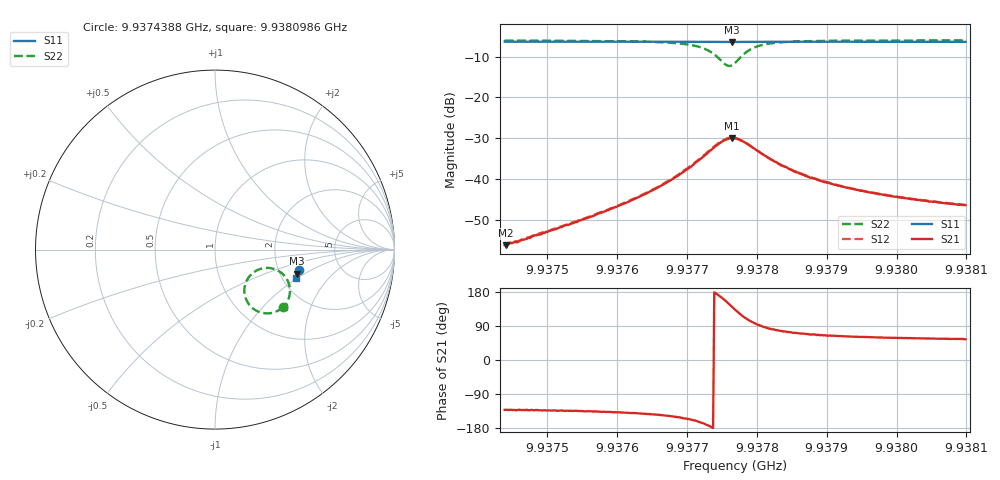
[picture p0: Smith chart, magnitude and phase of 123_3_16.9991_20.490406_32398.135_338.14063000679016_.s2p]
#  HZ  S  RI  R  50.00
! Rohde & Schwarz Vector Network Analyzer
! Rohde-Schwarz,ZNB20-2Port,1311601062101988,3.16
! Created: UTC 3/20/2024, 10:57:38 PM
! freq[Hz]  re:S11  im:S11  re:S21  im:S21  re:S12  im:S12  re:S22  im:S22
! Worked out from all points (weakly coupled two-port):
!   401 points, 9.9374388 GHz to 9.9380986 GHz, reference 50 ohm
!   highest |S21| = -29.98 dB at 9.9377638 GHz (marker M1); lowest = -56.2 dB at 9.9374404 GHz (marker M2)
!   lowest |S11| = -6.4 dB at 9.9377638 GHz (marker M3), VSWR 2.83, Z = 124 - j43.3 ohm
!   |S11| at or under -10 dB: nowhere
!   |S22| runs from -12.3 to -6.0 dB; largest |S21 - S12| = 0.0015
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9.93743877e9  0.4688 -0.1154  -0.00103 -0.00116  -0.000992 -0.00115  0.3789 -0.321
9.93744042e9  0.4689 -0.1155  -0.00102 -0.00116  -0.00104 -0.0012  0.3784 -0.3213
9.9375493e9  0.4663 -0.1229  -0.00225 -0.00227  -0.00233 -0.00225  0.3624 -0.3335
9.93761528e9  0.4647 -0.1275  -0.004 -0.00339  -0.00412 -0.00344  0.3435 -0.3439
9.93765982e9  0.4633 -0.1306  -0.00657 -0.00464  -0.00678 -0.00464  0.3188 -0.3521
9.93768127e9  0.4628 -0.1322  -0.00885 -0.00531  -0.0091 -0.00523  0.2988 -0.3553
9.93770106e9  0.4619 -0.1336  -0.0122 -0.00541  -0.0125 -0.00553  0.2703 -0.3538
9.93772581e9  0.4603 -0.135  -0.0193 -0.0037  -0.0199 -0.00334  0.2136 -0.3294
9.93773736e9  0.4596 -0.1356  -0.024 -0.000253  -0.0246 0.00063  0.1817 -0.2938
9.9377489e9  0.4587 -0.1355  -0.0277 0.00693  -0.028 0.00815  0.1637 -0.23
9.93775715e9  0.4584 -0.1352  -0.0273 0.0141  -0.0274 0.0155  0.1765 -0.1731
9.93776375e9  0.4583 -0.1349  -0.0249 0.0197  -0.0243 0.021  0.2074 -0.133
9.9377687e9  0.4585 -0.1348  -0.0213 0.0231  -0.0207 0.0243  0.2392 -0.1126
9.93777695e9  0.4591 -0.1348  -0.0148 0.0257  -0.0139 0.0268  0.2955 -0.1018
9.93778685e9  0.4597 -0.1353  -0.00785 0.0256  -0.00694 0.0262  0.3504 -0.1167
9.93780499e9  0.4602 -0.1367  -0.000228 0.021  0.000455 0.021  0.4008 -0.1655
9.93783469e9  0.4601 -0.1394  0.00345 0.0143  0.0039 0.0144  0.4177 -0.2234
9.93785448e9  0.4597 -0.141  0.00383 0.0117  0.00421 0.0118  0.4166 -0.2463
9.93787923e9  0.4593 -0.1428  0.0041 0.00956  0.00413 0.00958  0.4125 -0.2649
9.93792707e9  0.4581 -0.1462  0.00367 0.00702  0.00385 0.00698  0.4042 -0.2864
9.93798975e9  0.4564 -0.1505  0.00322 0.00538  0.00338 0.00534  0.3955 -0.302
9.93809863e9  0.4537 -0.1577  0.00277 0.00392  0.00283 0.00396  0.3842 -0.3174
